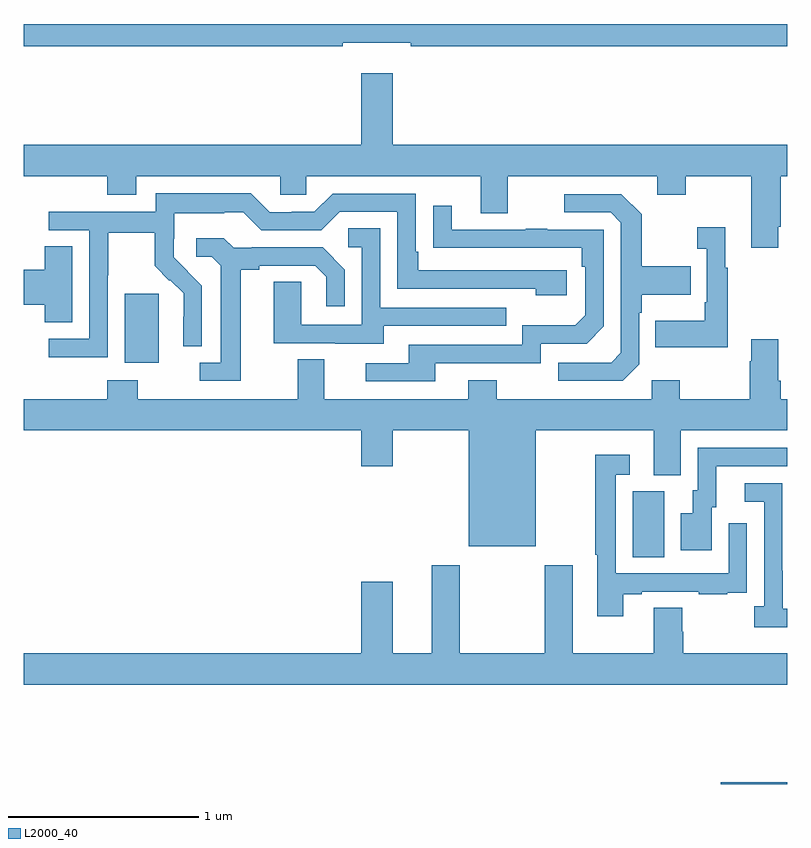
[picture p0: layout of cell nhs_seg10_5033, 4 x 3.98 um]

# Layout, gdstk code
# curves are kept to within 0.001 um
import gdstk
lib = gdstk.Library(unit=1e-6, precision=1e-09)
def R(c, l, rs):  # rectangles x0, y0, x1, y1
    for r in rs: c.add(gdstk.rectangle(r[:2], r[2:], *l))
def P(c, l, *ps):  # polygons
    for p in ps: c.add(gdstk.Polygon(p, *l))
L2000_40 = (2000, 40)

nhs_seg10_5033 = lib.new_cell('nhs_seg10_5033')
R(nhs_seg10_5033, L2000_40, [(406.65,1262.5,407,1262.51), (406.19,1263.688,406.354,1264.032), (403.529,1264.706,403.708,1265.067)])
P(nhs_seg10_5033, L2000_40, [(404.672,1266.383),(405.028,1266.383),(405.028,1266.364),(407,1266.364),(407,1266.48),(403,1266.48),(403,1266.364),(404.672,1266.364)],
  [(406.951,1265.419),(406.964,1265.419),(406.964,1265.684),(407,1265.684),(407,1265.848),(404.932,1265.848),(404.932,1266.223),(404.768,1266.223),(404.768,1265.848),(403,1265.848),(403,1265.684),(403.439,1265.684),(403.439,1265.585),(403.591,1265.585),(403.591,1265.684),(404.343,1265.684),(404.343,1265.586),(404.481,1265.586),(404.481,1265.684),(405.395,1265.684),(405.395,1265.49),(405.535,1265.49),(405.535,1265.684),(406.319,1265.684),(406.319,1265.585),(406.467,1265.585),(406.467,1265.684),(406.811,1265.684),(406.811,1265.307),(406.951,1265.307)],
  [(403.44,1265.164),(403.443,1265.164),(403.443,1265.388),(403.687,1265.388),(403.687,1265.213),(403.764,1265.136),(403.767,1265.139),(403.838,1265.069),(403.838,1264.946),(403.836,1264.946),(403.836,1264.792),(403.932,1264.792),(403.932,1265.11),(403.786,1265.258),(403.786,1265.355),(403.788,1265.355),(403.788,1265.489),(404.051,1265.489),(404.051,1265.493),(404.151,1265.493),(404.244,1265.4),(404.559,1265.4),(404.655,1265.496),(404.958,1265.496),(404.958,1265.094),(405.683,1265.094),(405.683,1265.06),(405.844,1265.06),(405.844,1265.19),(405.067,1265.19),(405.067,1265.287),(405.054,1265.287),(405.054,1265.592),(404.619,1265.592),(404.523,1265.496),(404.405,1265.496),(404.405,1265.493),(404.289,1265.493),(404.189,1265.593),(403.692,1265.593),(403.692,1265.496),(403.131,1265.496),(403.131,1265.4),(403.344,1265.4),(403.344,1264.833),(403.131,1264.833),(403.131,1264.735),(403.44,1264.735)],
  [(406.224,1264.698),(406.224,1264.967),(406.237,1264.967),(406.237,1265.063),(406.493,1265.063),(406.493,1265.211),(406.237,1265.211),(406.237,1265.483),(406.131,1265.589),(405.831,1265.589),(405.831,1265.493),(406.074,1265.493),(406.128,1265.439),(406.128,1264.758),(406.077,1264.707),(405.801,1264.707),(405.801,1264.611),(406.137,1264.611)],
  [(405.157,1264.704),(405.708,1264.704),(405.708,1264.806),(405.948,1264.806),(406.038,1264.896),(406.038,1265.403),(405.743,1265.403),(405.743,1265.408),(405.631,1265.408),(405.631,1265.403),(405.241,1265.403),(405.241,1265.527),(405.145,1265.527),(405.145,1265.308),(405.922,1265.307),(405.922,1265.21),(405.942,1265.21),(405.942,1264.956),(405.889,1264.903),(405.612,1264.903),(405.612,1264.8),(405.017,1264.8),(405.017,1264.704),(404.793,1264.704),(404.793,1264.608),(405.157,1264.608)],
  [(406.687,1265.203),(406.675,1265.203),(406.675,1265.416),(406.527,1265.416),(406.527,1265.303),(406.578,1265.303),(406.578,1265.023),(406.566,1265.023),(406.566,1264.927),(406.309,1264.927),(406.309,1264.787),(406.687,1264.787)],
  [(404.887,1264.899),(405.527,1264.899),(405.527,1264.995),(404.868,1264.995),(404.868,1265.411),(404.7,1265.411),(404.7,1265.31),(404.772,1265.31),(404.772,1264.905),(404.454,1264.905),(404.454,1265.129),(404.309,1265.129),(404.309,1264.809),(404.633,1264.809),(404.633,1264.805),(404.887,1264.805)],
  [(404.137,1265.192),(404.233,1265.192),(404.233,1265.214),(404.528,1265.214),(404.585,1265.157),(404.585,1265.001),(404.682,1265.001),(404.682,1265.194),(404.566,1265.31),(404.194,1265.31),(404.194,1265.307),(404.1,1265.307),(404.048,1265.359),(403.905,1265.359),(403.905,1265.262),(403.986,1265.262),(404.033,1265.215),(404.033,1264.707),(403.923,1264.707),(403.923,1264.611),(404.137,1264.611)],
  [(403.255,1265.315),(403.112,1265.315),(403.112,1265.192),(403,1265.192),(403,1265.009),(403.112,1265.009),(403.112,1264.918),(403.255,1264.918)],
  [(405.682,1264.352),(406.301,1264.352),(406.301,1264.117),(406.441,1264.117),(406.441,1264.352),(407,1264.352),(407,1264.516),(406.964,1264.516),(406.964,1264.612),(406.951,1264.612),(406.951,1264.828),(406.811,1264.828),(406.811,1264.715),(406.804,1264.715),(406.804,1264.516),(406.437,1264.516),(406.437,1264.615),(406.29,1264.615),(406.29,1264.516),(405.477,1264.516),(405.477,1264.615),(405.329,1264.615),(405.329,1264.516),(404.575,1264.516),(404.575,1264.724),(404.435,1264.724),(404.435,1264.516),(403.599,1264.516),(403.599,1264.615),(403.439,1264.615),(403.439,1264.516),(403,1264.516),(403,1264.352),(404.768,1264.352),(404.768,1264.164),(404.932,1264.164),(404.932,1264.352),(405.332,1264.352),(405.332,1263.746),(405.682,1263.746)],
  [(406.603,1263.948),(406.627,1263.948),(406.627,1264.164),(407,1264.164),(407,1264.26),(406.53,1264.26),(406.53,1264.038),(406.505,1264.038),(406.505,1263.919),(406.442,1263.919),(406.442,1263.723),(406.603,1263.723)],
  [(406.141,1263.495),(406.237,1263.495),(406.237,1263.507),(406.537,1263.507),(406.537,1263.495),(406.685,1263.495),(406.685,1263.501),(406.787,1263.501),(406.787,1263.61),(406.788,1263.61),(406.788,1263.865),(406.692,1263.865),(406.692,1263.603),(406.101,1263.603),(406.101,1264.119),(406.174,1264.119),(406.174,1264.225),(405.993,1264.225),(405.993,1263.7),(406.005,1263.7),(406.005,1263.378),(406.141,1263.378)],
  [(407,1263.417),(406.975,1263.417),(406.975,1263.617),(406.974,1263.617),(406.974,1264.074),(406.776,1264.074),(406.776,1263.978),(406.878,1263.978),(406.878,1263.43),(406.827,1263.43),(406.827,1263.32),(407,1263.32)],
  [(407,1263.184),(406.454,1263.184),(406.454,1263.297),(406.449,1263.297),(406.449,1263.422),(406.301,1263.422),(406.301,1263.184),(405.877,1263.184),(405.877,1263.646),(405.73,1263.646),(405.73,1263.184),(405.285,1263.184),(405.285,1263.646),(405.137,1263.646),(405.137,1263.184),(404.932,1263.184),(404.932,1263.559),(404.768,1263.559),(404.768,1263.184),(403,1263.184),(403,1263.02),(407,1263.02)])

lib.write_gds('nhs_seg10_5033.gds')
